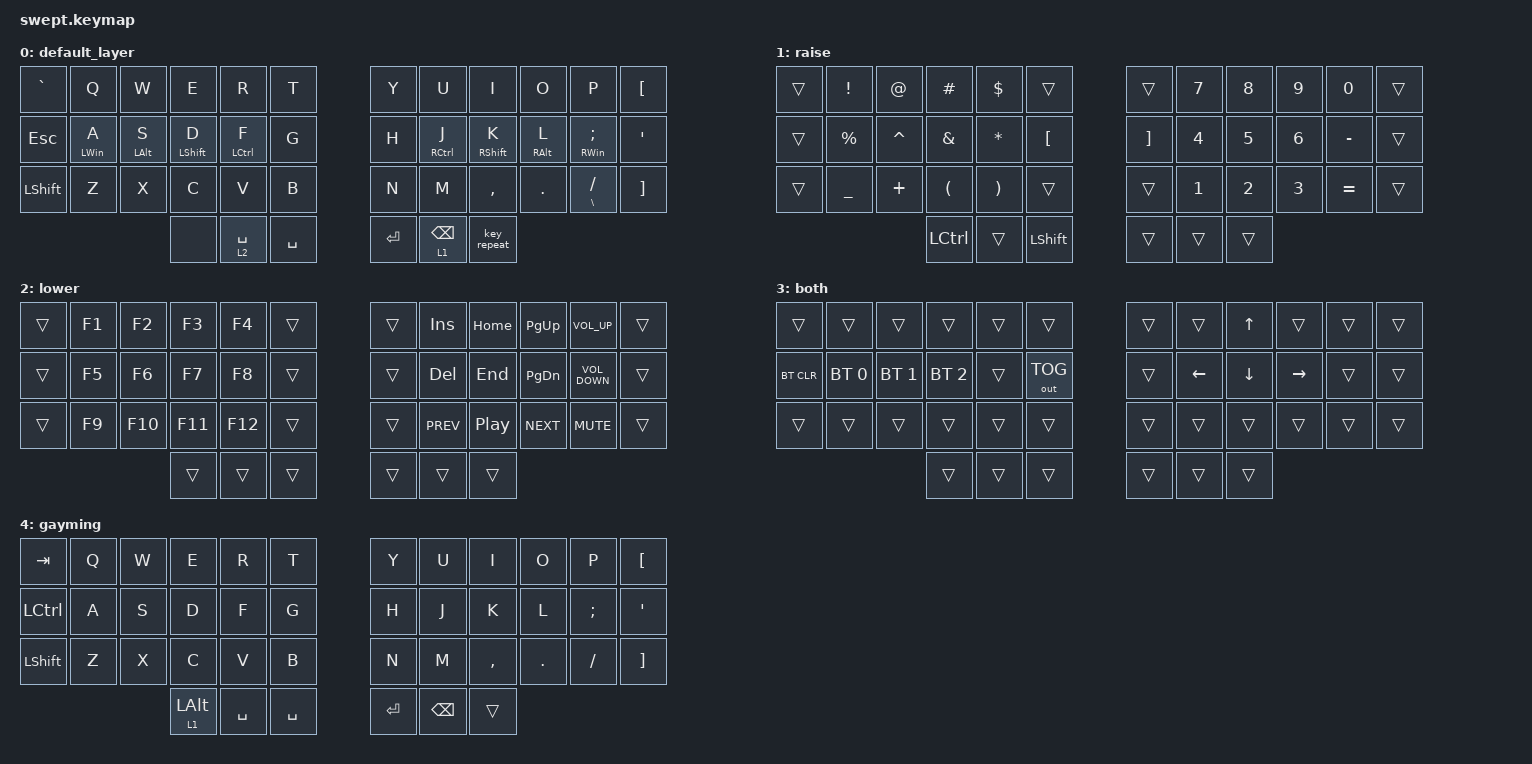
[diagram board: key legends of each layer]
/*
 * Copyright (c) 2020 The ZMK Contributors
 *
 * SPDX-License-Identifier: MIT
 */

#include <behaviors.dtsi>
#include <dt-bindings/zmk/bt.h>
#include <dt-bindings/zmk/keys.h>
#include <dt-bindings/zmk/outputs.h>

/ {
    
    combos {
        compatible = "zmk,combos";

        Tab {
            bindings = <&kp TAB>;
            key-positions = <12 13>;
        };

        Caps_word {
            bindings = <&caps_word>;
            key-positions = <17 18>;
        };

        Delete {
            bindings = <&kp DELETE>;
            key-positions = <32 33>;
        };

        printscreen {
            bindings = <&kp PRINTSCREEN>;
            key-positions = <9 10 11>;
        };

        gaming_layer {
            bindings = <&tog 4>;
            key-positions = <23 11 35>;
        };
    };

    behaviors {
        hml: homerow_mods_left {
            compatible = "zmk,behavior-hold-tap";
            label = "HOMEROW_MODS_LEFT";
            bindings = <&kp>, <&kp>;

            #binding-cells = <2>;
            tapping-term-ms = <230>;
            flavor = "balanced";
            quick-tap-ms = <175>;
            hold-trigger-key-positions = <11 6 7 8 9 10 11 18 19 20 21 22 23 30 31 32 33 34 35 39 40 41>;
            require-prior-idle-ms = <150>;
            hold-trigger-on-release;
        };

        hmr: homerow_mods_right {
            compatible = "zmk,behavior-hold-tap";
            label = "HOMEROW_MODS_RIGHT";
            bindings = <&kp>, <&kp>;

            #binding-cells = <2>;
            tapping-term-ms = <230>;
            quick-tap-ms = <175>;
            hold-trigger-key-positions = <0 1 2 4 5 12 13 14 15 16 17 24 25 26 27 28 29 36 37 38 3>;
            require-prior-idle-ms = <150>;
            flavor = "balanced";
            hold-trigger-on-release;
        };
    };

    keymap {
        compatible = "zmk,keymap";

        default_layer {
            // -----------------------------------------------------------------------------------------
            // |  ESC |  Q  |  W  |  E  |  R  |  T  |   |  Y  |  U   |  I  |  O  |  P  |  [  |
            // |  `   |  A  |  S  |  D  |  F  |  G  |   |  H  |  J   |  K  |  L  |  ;  |  '  |
            // | SHFT |  Z  |  X  |  C  |  V  |  B  |   |  N  |  M   |  ,  |  .  |  /  |  ]  |
            //                    |     | LWR | SPC |   | ENT | RSE  | ALT |

            bindings = <
&kp GRAVE   &kp Q            &kp W            &kp E              &kp R         &kp T        &kp Y    &kp U            &kp I               &kp O             &kp P                     &kp LEFT_BRACKET
&kp ESCAPE  &hml LEFT_WIN A  &hml LEFT_ALT S  &hml LEFT_SHIFT D  &hml LCTRL F  &kp G        &kp H    &hmr RCTRL J     &hmr RIGHT_SHIFT K  &hmr RIGHT_ALT L  &hmr RIGHT_WIN SEMICOLON  &kp SQT
&kp LSHFT   &kp Z            &kp X            &kp C              &kp V         &kp B        &kp N    &kp M            &kp COMMA           &kp DOT           &mt BACKSLASH SLASH       &kp RIGHT_BRACKET
                                              &none              &lt 2 SPACE   &kp SPACE    &kp RET  &lt 1 BACKSPACE  &key_repeat
            >;
        };

        raise {
            // -----------------------------------------------------------------------------------------
            // |      |     |     | ARU |     |     |   |     |  7  |  8  |  9  |  0  |      |
            // |      |     | ARL | ARD | ARR |  [  |   |  ]  |  4  |  5  |  6  |  -  |      |
            // | CTRL |     |     |     |     |     |   |     |  1  |  2  |  3  |  =  |      |
            //                    |SHFT |     |     |   |     |     |     |

            bindings = <
&trans  &kp EXCL        &kp AT_SIGN  &kp POUND             &kp DOLLAR             &trans              &trans             &kp N7  &kp N8  &kp N9  &kp N0     &trans
&trans  &kp PERCENT     &kp CARET    &kp AMPERSAND         &kp ASTERISK           &kp LEFT_BRACKET    &kp RIGHT_BRACKET  &kp N4  &kp N5  &kp N6  &kp MINUS  &trans
&trans  &kp UNDERSCORE  &kp PLUS     &kp LEFT_PARENTHESIS  &kp RIGHT_PARENTHESIS  &trans              &trans             &kp N1  &kp N2  &kp N3  &kp EQUAL  &trans
                                     &kp LCTRL             &trans                 &kp LSHFT           &trans             &trans  &trans
            >;
        };

        lower {
            // -----------------------------------------------------------------------------------------
            // |      |  F1 |  F2 |  F3 |  F4 |     |   |     | INS | HOM | PUP | VUP |      |
            // | BTCLR|  F5 |  F6 |  F7 |  F8 | BT0 |   |     | DEL | END | PDN | VDN |      |
            // |      |  F9 | F10 | F11 | F12 |     |   |     | PRV | PPS | FWD | MUT |      |
            //                    |     |     |     |   |     |     |     |

            bindings = <
&trans  &kp F1  &kp F2   &kp F3   &kp F4   &trans    &trans  &kp INSERT  &kp HOME          &kp PAGE_UP    &kp C_VOLUME_UP    &trans
&trans  &kp F5  &kp F6   &kp F7   &kp F8   &trans    &trans  &kp DELETE  &kp END           &kp PAGE_DOWN  &kp C_VOLUME_DOWN  &trans
&trans  &kp F9  &kp F10  &kp F11  &kp F12  &trans    &trans  &kp C_PREV  &kp C_PLAY_PAUSE  &kp C_NEXT     &kp C_MUTE         &trans
                         &trans   &trans   &trans    &trans  &trans      &trans
            >;
        };

        both {
            bindings = <
&trans      &trans        &trans        &trans        &trans  &trans          &trans  &trans          &kp UP_ARROW  &trans           &trans  &trans
&bt BT_CLR  &bt BT_SEL 0  &bt BT_SEL 1  &bt BT_SEL 2  &trans  &out OUT_TOG    &trans  &kp LEFT_ARROW  &kp DOWN      &kp RIGHT_ARROW  &trans  &trans
&trans      &trans        &trans        &trans        &trans  &trans          &trans  &trans          &trans        &trans           &trans  &trans
                                        &trans        &trans  &trans          &trans  &trans          &trans
            >;
        };

        gayming {
            bindings = <
&kp TAB         &kp Q  &kp W  &kp E           &kp R      &kp T        &kp Y    &kp U     &kp I      &kp O    &kp P     &kp LBKT
&kp LCTRL       &kp A  &kp S  &kp D           &kp F      &kp G        &kp H    &kp J     &kp K      &kp L    &kp SEMI  &kp SQT
&kp LEFT_SHIFT  &kp Z  &kp X  &kp C           &kp V      &kp B        &kp N    &kp M     &kp COMMA  &kp DOT  &kp FSLH  &kp RBKT
                              &lt 1 LEFT_ALT  &kp SPACE  &kp SPACE    &kp RET  &kp BSPC  &trans
            >;
        };
    };

    conditional_layers {
        compatible = "zmk,conditional-layers";

        both {
            if-layers = <1 2>;
            then-layer = <3>;
        };
    };
};
